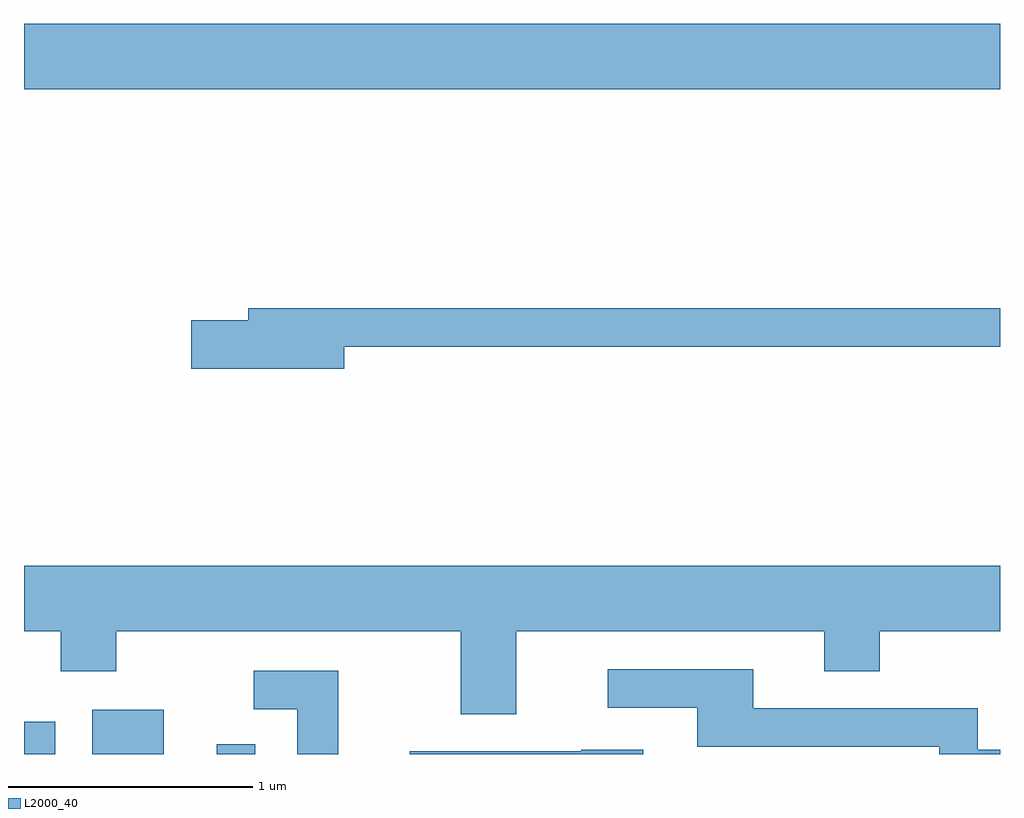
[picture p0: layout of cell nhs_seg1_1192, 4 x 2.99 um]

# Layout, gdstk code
import gdstk
lib = gdstk.Library(unit=1e-6, precision=1e-09)
def R(c, l, rs):  # rectangles x0, y0, x1, y1
    for r in rs: c.add(gdstk.rectangle(r[:2], r[2:], *l))
def P(c, l, *ps):  # polygons
    for p in ps: c.add(gdstk.Polygon(p, *l))
L2000_40 = (2000, 40)

nhs_seg1_1192 = lib.new_cell('nhs_seg1_1192')
R(nhs_seg1_1192, L2000_40, [(221.611,925.712,221.739,925.844), (221.891,925.712,222.184,925.894), (222.401,925.712,222.559,925.753), (221.611,928.436,225.611,928.704)])
P(nhs_seg1_1192, L2000_40, [(222.924,927.381),(225.611,927.381),(225.611,927.539),(222.531,927.539),(222.531,927.489),(222.296,927.489),(222.296,927.291),(222.924,927.291)],
  [(223.629,926.216),(224.891,926.216),(224.891,926.051),(225.119,926.051),(225.119,926.216),(225.611,926.216),(225.611,926.484),(221.611,926.484),(221.611,926.216),(221.761,926.216),(221.761,926.051),(221.989,926.051),(221.989,926.216),(223.401,926.216),(223.401,925.876),(223.629,925.876)],
  [(225.611,925.729),(225.519,925.729),(225.519,925.899),(224.599,925.899),(224.599,926.059),(224.003,926.059),(224.003,925.901),(224.371,925.901),(224.371,925.741),(225.361,925.741),(225.361,925.712),(225.611,925.712)],
  [(222.899,926.054),(222.553,926.054),(222.553,925.896),(222.731,925.896),(222.731,925.712),(222.899,925.712)],
  [(224.149,925.729),(223.895,925.729),(223.895,925.724),(223.191,925.724),(223.191,925.712),(224.149,925.712)])

lib.write_gds('nhs_seg1_1192.gds')
